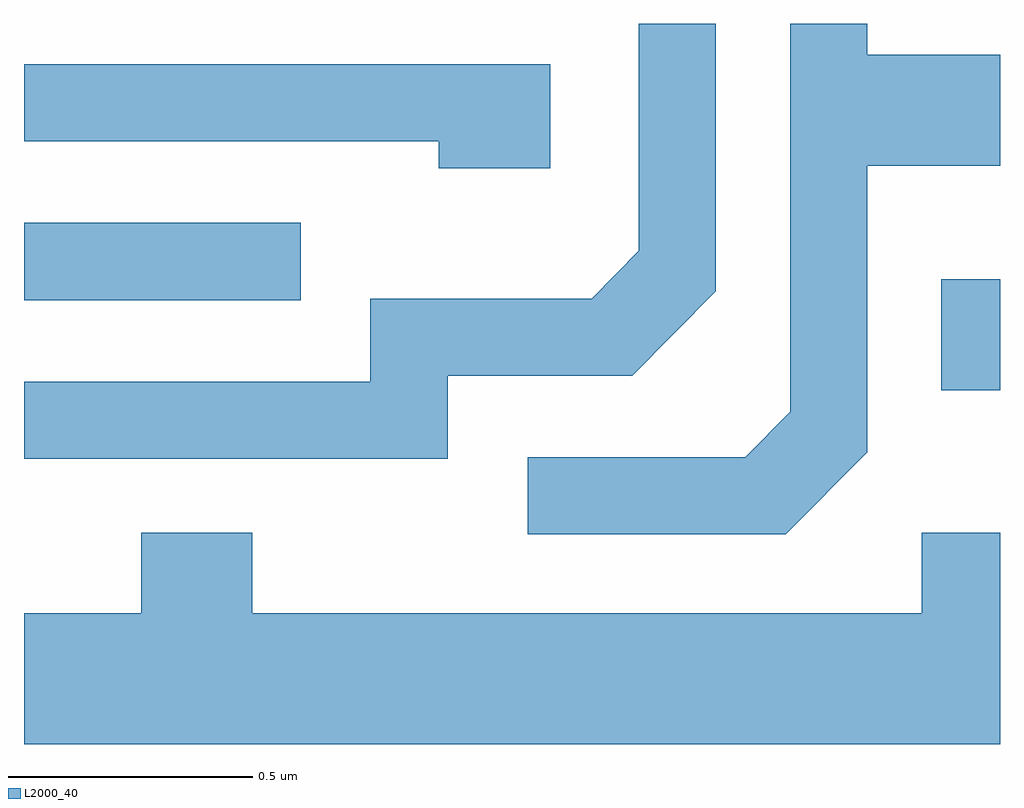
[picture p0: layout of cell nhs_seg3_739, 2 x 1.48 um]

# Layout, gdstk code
import gdstk
lib = gdstk.Library(unit=1e-6, precision=1e-09)
def R(c, l, rs):  # rectangles x0, y0, x1, y1
    for r in rs: c.add(gdstk.rectangle(r[:2], r[2:], *l))
def P(c, l, *ps):  # polygons
    for p in ps: c.add(gdstk.Polygon(p, *l))
L2000_40 = (2000, 40)

nhs_seg3_739 = lib.new_cell('nhs_seg3_739')
R(nhs_seg3_739, L2000_40, [(192.491,1171.141,192.611,1171.369), (190.611,1171.326,191.178,1171.484)])
P(nhs_seg3_739, L2000_40, [(191.479,1171.171),(191.857,1171.171),(192.029,1171.344),(192.029,1171.892),(191.871,1171.892),(191.871,1171.427),(191.774,1171.329),(191.321,1171.329),(191.321,1171.159),(190.611,1171.159),(190.611,1171.001),(191.479,1171.001)],
  [(192.339,1171.014),(192.339,1171.601),(192.611,1171.601),(192.611,1171.829),(192.339,1171.829),(192.339,1171.892),(192.181,1171.892),(192.181,1171.097),(192.089,1171.004),(191.643,1171.004),(191.643,1170.846),(192.172,1170.846)],
  [(191.689,1171.809),(190.611,1171.809),(190.611,1171.651),(191.461,1171.651),(191.461,1171.596),(191.689,1171.596)],
  [(192.611,1170.849),(192.451,1170.849),(192.451,1170.684),(191.079,1170.684),(191.079,1170.849),(190.851,1170.849),(190.851,1170.684),(190.611,1170.684),(190.611,1170.416),(192.611,1170.416)])

lib.write_gds('nhs_seg3_739.gds')
